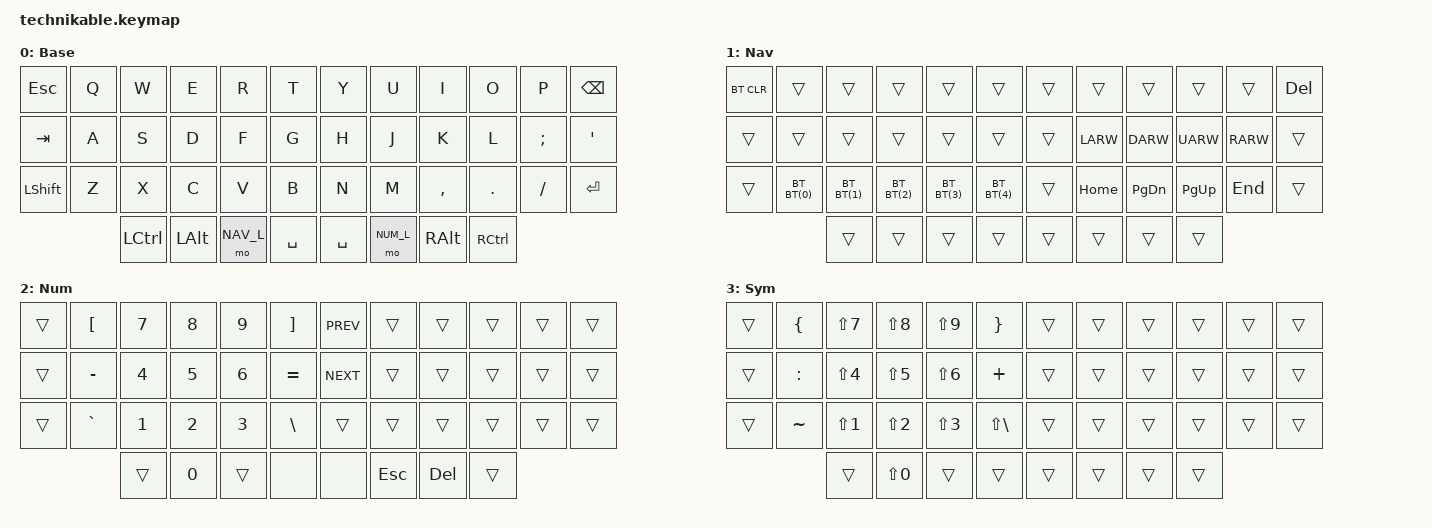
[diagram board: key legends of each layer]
/*
 * Copyright (c) 2022 Pete Johanson
 *
 * SPDX-License-Identifier: MIT
 */

#include <behaviors.dtsi>
#include <dt-bindings/zmk/keys.h>
#include <dt-bindings/zmk/bt.h>
#include <dt-bindings/zmk/outputs.h>

#define QWERTY_BASE 1

#define BAS_L 0
#define NAV_L 1
#define NUM_L 2
#define SYM_L 3

// Using layer taps on thumbs, having quick tap as well helps w/ repeating space/backspace
&lt { quick_tap_ms = <200>; };

#define BT(n) BT_SEL n

/ {
    chosen {
       zmk,matrix_transform = &ortho_transform;
    };

    conditional_layers {
        compatible = "zmk,conditional-layers";
	tri_layer {
	    if-layers = <NAV_L NUM_L>;
	    then-layer = <SYM_L>;
	};
    };

    keymap {
        compatible = "zmk,keymap";

        base_layer {
            label = "Base";
            bindings = <
 &kp ESC    &kp Q      &kp W      &kp E       &kp R          &kp T          &kp Y            &kp U          &kp I       &kp O      &kp P         &kp BKSP
 &kp TAB    &kp A      &kp S      &kp D       &kp F          &kp G          &kp H            &kp J          &kp K       &kp L      &kp SEMI      &kp QUOT
 &kp LSHFT  &kp Z      &kp X      &kp C       &kp V          &kp B          &kp N            &kp M          &kp COMMA   &kp DOT    &kp FSLH      &kp RET
                       &kp LCTRL  &kp LALT    &mo NAV_L      &kp SPACE      &kp SPACE        &mo NUM_L      &kp RALT    &kp RCTRL
            >;
        };

        nav_layer {
            label = "Nav";
            bindings = <
&bt BT_CLR &trans     &trans     &trans      &trans          &trans       &trans     &trans         &trans      &trans     &trans     &kp DEL
&trans     &trans     &trans     &trans      &trans          &trans       &trans     &kp LARW       &kp DARW    &kp UARW   &kp RARW   &trans
&trans     &bt BT(0)  &bt BT(1)  &bt BT(2)   &bt BT(3)       &bt BT(4)    &trans     &kp HOME       &kp PG_DN   &kp PG_UP  &kp END    &trans
                      &trans     &trans      &trans          &trans       &trans    &trans  &trans         &trans
            >;
        };

        num_layer {
            label = "Num";
            bindings = <
&trans     &kp LBKT   &kp N7     &kp N8      &kp N9    &kp RBKT    &kp C_PREV    &trans         &trans       &trans       &trans     &trans
&trans     &kp MINUS  &kp N4     &kp N5      &kp N6    &kp EQUAL   &kp C_NEXT    &trans         &trans       &trans       &trans     &trans
&trans     &kp GRAVE  &kp N1     &kp N2      &kp N3    &kp BSLH    &trans        &trans         &trans       &trans       &trans     &trans
                     &trans     &kp N0      &trans    &none         &none     &kp ESC        &kp DEL      &trans
            >;
        };

        sym_layer {
            label = "Sym";
            bindings = <
&trans     &kp LBRC   &kp LS(N7) &kp LS(N8)  &kp LS(N9)   &kp RBRC     &trans     &trans    &trans       &trans       &trans     &trans
&trans     &kp COLON  &kp LS(N4) &kp LS(N5)  &kp LS(N6)   &kp PLUS     &trans     &trans    &trans       &trans       &trans     &trans
&trans     &kp TILDE  &kp LS(N1) &kp LS(N2)  &kp LS(N3)   &kp LS(BSLH) &trans     &trans    &trans       &trans       &trans     &trans
                      &trans     &kp LS(N0)      &trans          &trans       &trans    &trans  &trans         &trans
            >;
        };

    };
};

